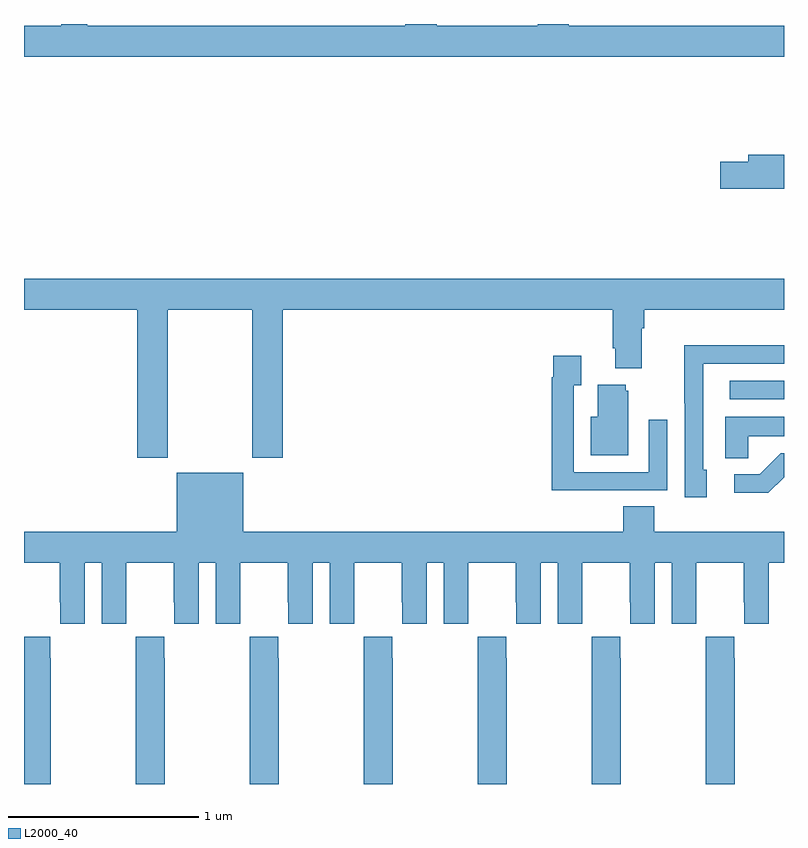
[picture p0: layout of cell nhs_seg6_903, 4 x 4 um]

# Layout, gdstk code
import gdstk
lib = gdstk.Library(unit=1e-6, precision=1e-09)
def R(c, l, rs):  # rectangles x0, y0, x1, y1
    for r in rs: c.add(gdstk.rectangle(r[:2], r[2:], *l))
def P(c, l, *ps):  # polygons
    for p in ps: c.add(gdstk.Polygon(p, *l))
L2000_40 = (2000, 40)

nhs_seg6_903 = lib.new_cell('nhs_seg6_903')
R(nhs_seg6_903, L2000_40, [(170.715,953.526,171,953.622)])
P(nhs_seg6_903, L2000_40, [(171,955.492),(169.868,955.492),(169.868,955.5),(169.703,955.5),(169.703,955.492),(169.172,955.492),(169.172,955.5),(169.007,955.5),(169.007,955.492),(167.334,955.492),(167.334,955.5),(167.195,955.5),(167.195,955.492),(167,955.492),(167,955.328),(171,955.328)],
  [(171,954.812),(170.813,954.812),(170.813,954.776),(170.664,954.776),(170.664,954.634),(171,954.634)],
  [(167.757,953.996),(168.202,953.996),(168.202,953.217),(168.362,953.217),(168.362,953.996),(170.099,953.996),(170.099,953.794),(170.111,953.794),(170.111,953.687),(170.251,953.687),(170.251,953.9),(170.264,953.9),(170.264,953.996),(171,953.996),(171,954.16),(167,954.16),(167,953.996),(167.597,953.996),(167.597,953.217),(167.757,953.217)],
  [(170.593,953.154),(170.574,953.154),(170.574,953.712),(171,953.712),(171,953.808),(170.939,953.808),(170.939,953.81),(170.476,953.81),(170.476,953.503),(170.478,953.503),(170.478,953.01),(170.593,953.01)],
  [(170.069,953.046),(170.385,953.046),(170.385,953.416),(170.289,953.416),(170.289,953.142),(169.893,953.142),(169.893,953.599),(169.933,953.599),(169.933,953.755),(169.785,953.755),(169.785,953.642),(169.777,953.642),(169.777,953.045),(170.069,953.045)],
  [(170.179,953.571),(170.168,953.571),(170.168,953.602),(170.021,953.602),(170.021,953.434),(169.982,953.434),(169.982,953.231),(170.179,953.231)],
  [(170.811,953.33),(171,953.33),(171,953.434),(170.69,953.434),(170.69,953.215),(170.811,953.215)],
  [(171,953.115),(171,953.241),(170.984,953.241),(170.873,953.13),(170.739,953.13),(170.739,953.033),(170.917,953.033)],
  [(168.154,953.137),(167.804,953.137),(167.804,952.828),(167,952.828),(167,952.664),(167.189,952.664),(167.189,952.456),(167.19,952.456),(167.19,952.344),(167.32,952.344),(167.32,952.664),(167.408,952.664),(167.408,952.344),(167.538,952.344),(167.538,952.456),(167.539,952.456),(167.539,952.664),(167.789,952.664),(167.789,952.456),(167.79,952.456),(167.79,952.344),(167.92,952.344),(167.92,952.664),(168.008,952.664),(168.008,952.344),(168.138,952.344),(168.138,952.456),(168.139,952.456),(168.139,952.664),(168.389,952.664),(168.389,952.456),(168.39,952.456),(168.39,952.344),(168.52,952.344),(168.52,952.664),(168.608,952.664),(168.608,952.344),(168.738,952.344),(168.738,952.456),(168.739,952.456),(168.739,952.664),(168.989,952.664),(168.989,952.456),(168.99,952.456),(168.99,952.344),(169.12,952.344),(169.12,952.664),(169.208,952.664),(169.208,952.344),(169.338,952.344),(169.338,952.456),(169.339,952.456),(169.339,952.664),(169.589,952.664),(169.589,952.456),(169.59,952.456),(169.59,952.344),(169.72,952.344),(169.72,952.664),(169.808,952.664),(169.808,952.344),(169.938,952.344),(169.938,952.456),(169.939,952.456),(169.939,952.664),(170.189,952.664),(170.189,952.456),(170.19,952.456),(170.19,952.344),(170.32,952.344),(170.32,952.664),(170.408,952.664),(170.408,952.344),(170.538,952.344),(170.538,952.456),(170.539,952.456),(170.539,952.664),(170.789,952.664),(170.789,952.456),(170.79,952.456),(170.79,952.344),(170.92,952.344),(170.92,952.664),(171,952.664),(171,952.828),(170.318,952.828),(170.318,952.961),(170.153,952.961),(170.153,952.828),(168.154,952.828)],
  [(167.142,952.163),(167.139,952.163),(167.139,952.276),(167,952.276),(167,951.5),(167.142,951.5)],
  [(170.742,952.163),(170.739,952.163),(170.739,952.276),(170.589,952.276),(170.589,952.163),(170.587,952.163),(170.587,951.5),(170.742,951.5)],
  [(170.142,952.163),(170.139,952.163),(170.139,952.276),(169.989,952.276),(169.989,952.163),(169.987,952.163),(169.987,951.5),(170.142,951.5)],
  [(169.542,952.163),(169.539,952.163),(169.539,952.276),(169.389,952.276),(169.389,952.163),(169.387,952.163),(169.387,951.5),(169.542,951.5)],
  [(168.942,952.163),(168.939,952.163),(168.939,952.276),(168.789,952.276),(168.789,952.163),(168.787,952.163),(168.787,951.5),(168.942,951.5)],
  [(168.342,952.163),(168.339,952.163),(168.339,952.276),(168.189,952.276),(168.189,952.163),(168.187,952.163),(168.187,951.5),(168.342,951.5)],
  [(167.742,952.163),(167.739,952.163),(167.739,952.276),(167.589,952.276),(167.589,952.163),(167.587,952.163),(167.587,951.5),(167.742,951.5)])

lib.write_gds('nhs_seg6_903.gds')
